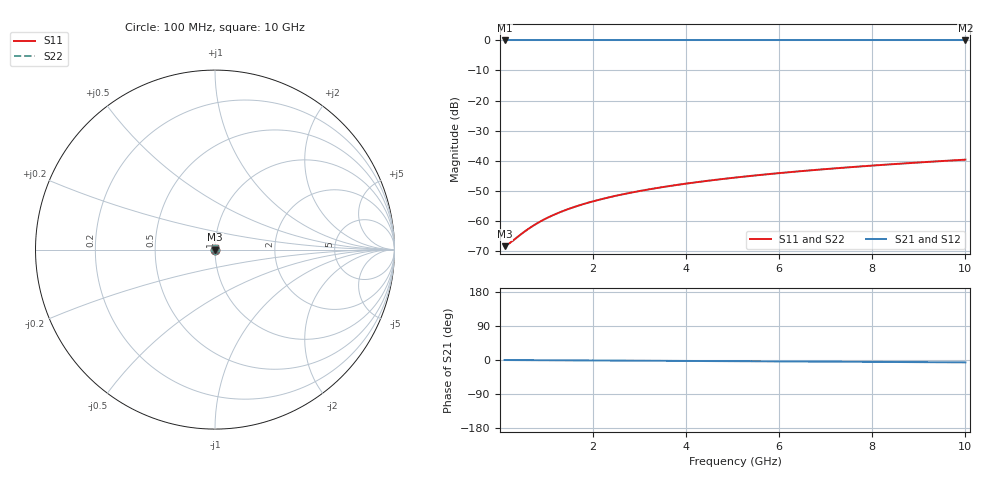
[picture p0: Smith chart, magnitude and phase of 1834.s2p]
# Hz S RI R 50.00
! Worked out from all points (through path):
!   100 points, 100 MHz to 10 GHz, reference 50 ohm
!   highest |S21| = 0.00 dB at 100 MHz (marker M1); lowest = 0.0 dB at 10 GHz (marker M2)
!   lowest |S11| = -68.5 dB at 100 MHz (marker M3), VSWR 1.00, Z = 50 + j0.0103 ohm
!   |S11| at or under -10 dB: start of sweep to end of sweep
!   |S22| runs from -68.5 to -39.7 dB; largest |S21 - S12| = 0
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1e8  0.000362 0.000103  0.9996 -0.00108  0.9996 -0.00108  0.000362 0.000103
2e8  0.000364 0.000206  0.9996 -0.00216  0.9996 -0.00216  0.000364 0.000206
5e8  0.00037 0.000515  0.9996 -0.00539  0.9996 -0.00539  0.00037 0.000515
6e8  0.000372 0.000618  0.9996 -0.00647  0.9996 -0.00647  0.000372 0.000618
7e8  0.000374 0.000721  0.9996 -0.00755  0.9996 -0.00755  0.000374 0.000721
9e8  0.000378 0.000926  0.9996 -0.00971  0.9996 -0.00971  0.000378 0.000926
1.1e9  0.000383 0.00113  0.9995 -0.0119  0.9995 -0.0119  0.000383 0.00113
1.3e9  0.000389 0.00134  0.9995 -0.014  0.9995 -0.014  0.000389 0.00134
1.5e9  0.000396 0.00154  0.9995 -0.0162  0.9995 -0.0162  0.000396 0.00154
1.8e9  0.000407 0.00185  0.9994 -0.0194  0.9994 -0.0194  0.000407 0.00185
2.1e9  0.00042 0.00216  0.9993 -0.0227  0.9993 -0.0227  0.00042 0.00216
2.5e9  0.000441 0.00257  0.9992 -0.027  0.9992 -0.027  0.000441 0.00257
2.9e9  0.000465 0.00298  0.9991 -0.0313  0.9991 -0.0313  0.000465 0.00298
3.4e9  0.0005 0.00349  0.9989 -0.0367  0.9989 -0.0367  0.0005 0.00349
3.8e9  0.000532 0.0039  0.9987 -0.0411  0.9987 -0.0411  0.000532 0.0039
4.2e9  0.000568 0.0043  0.9985 -0.0454  0.9985 -0.0454  0.000568 0.0043
5.1e9  0.000661 0.00522  0.998 -0.0552  0.998 -0.0552  0.000661 0.00522
5.9e9  0.000759 0.00604  0.9975 -0.0639  0.9975 -0.0639  0.000759 0.00604
6.7e9  0.000871 0.00685  0.9969 -0.0726  0.9969 -0.0726  0.000871 0.00685
7.5e9  0.000998 0.00767  0.9962 -0.0813  0.9962 -0.0813  0.000998 0.00767
8.4e9  0.00116 0.0086  0.9954 -0.0911  0.9954 -0.0911  0.00116 0.0086
1e10  0.00149 0.0103  0.9936 -0.1086  0.9936 -0.1086  0.00149 0.0103
